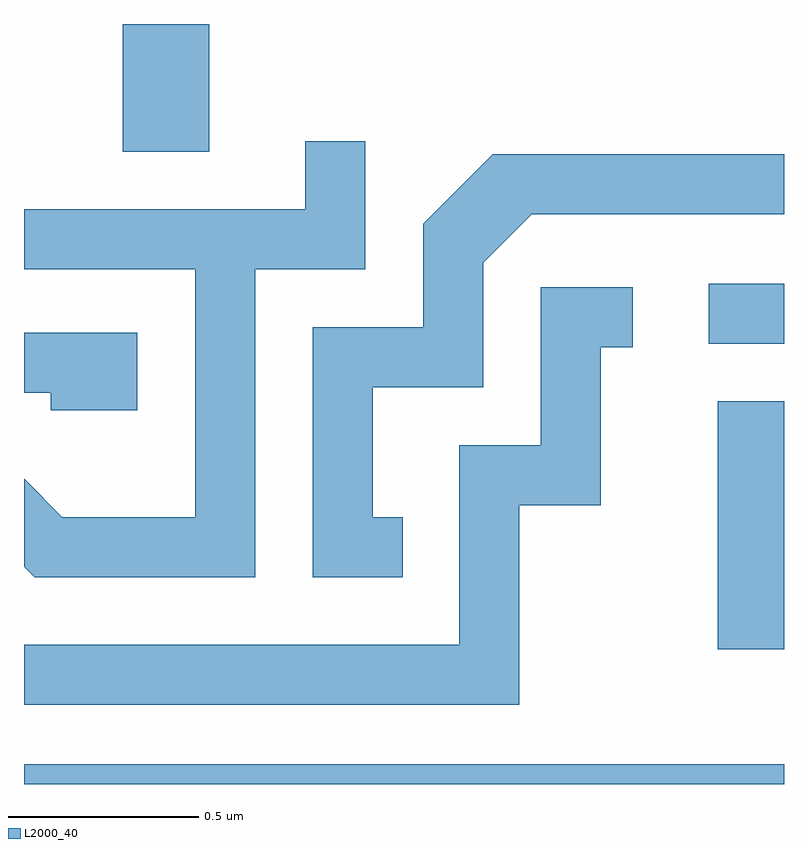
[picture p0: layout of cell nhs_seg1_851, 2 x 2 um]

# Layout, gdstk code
import gdstk
lib = gdstk.Library(unit=1e-6, precision=1e-09)
def R(c, l, rs):  # rectangles x0, y0, x1, y1
    for r in rs: c.add(gdstk.rectangle(r[:2], r[2:], *l))
def P(c, l, *ps):  # polygons
    for p in ps: c.add(gdstk.Polygon(p, *l))
L2000_40 = (2000, 40)

nhs_seg1_851 = lib.new_cell('nhs_seg1_851')
R(nhs_seg1_851, L2000_40, [(191.611,868.712,193.611,868.764), (193.436,869.066,193.611,869.719), (193.413,869.871,193.611,870.029), (191.871,870.376,192.099,870.712)])
P(nhs_seg1_851, L2000_40, [(192.219,870.066),(192.509,870.066),(192.509,870.403),(192.351,870.403),(192.351,870.224),(191.611,870.224),(191.611,870.066),(192.061,870.066),(192.061,869.414),(191.712,869.414),(191.611,869.515),(191.611,869.284),(191.639,869.256),(192.219,869.256)],
  [(192.608,869.414),(192.529,869.414),(192.529,869.756),(192.819,869.756),(192.819,870.084),(192.947,870.211),(193.611,870.211),(193.611,870.369),(192.844,870.369),(192.661,870.187),(192.661,869.914),(192.371,869.914),(192.371,869.256),(192.608,869.256)],
  [(192.914,869.446),(193.129,869.446),(193.129,869.861),(193.213,869.861),(193.213,870.019),(192.971,870.019),(192.971,869.604),(192.756,869.604),(192.756,869.079),(191.611,869.079),(191.611,868.921),(192.914,868.921)],
  [(191.909,869.899),(191.611,869.899),(191.611,869.741),(191.681,869.741),(191.681,869.696),(191.909,869.696)])

lib.write_gds('nhs_seg1_851.gds')
